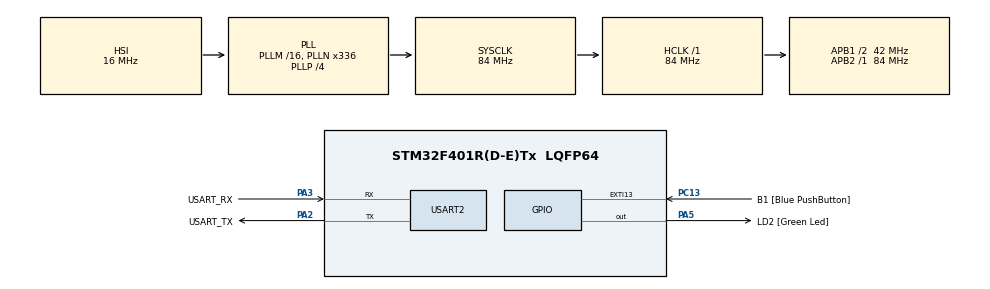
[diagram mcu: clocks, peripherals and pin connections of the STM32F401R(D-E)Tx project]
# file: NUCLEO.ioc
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Mcu.Family=STM32F4
Mcu.Name=STM32F401R(D-E)Tx
Mcu.Package=LQFP64
NVIC.EXTI15_10_IRQn=true\:2\:0\:true\:false\:true\:true
NVIC.PriorityGroup=NVIC_PRIORITYGROUP_4
PA13.GPIO_Label=TMS
PA13.Mode=Trace_Asynchronous_SW
PA13.Signal=SYS_JTMS-SWDIO
PA14.GPIO_Label=TCK
PA14.Mode=Trace_Asynchronous_SW
PA14.Signal=SYS_JTCK-SWCLK
PA2.GPIO_Label=USART_TX
PA2.GPIO_Mode=GPIO_MODE_AF_PP
PA2.GPIO_PuPd=GPIO_NOPULL
PA2.GPIO_Speed=GPIO_SPEED_FREQ_LOW
PA2.Mode=Asynchronous
PA2.Signal=USART2_TX
PA3.GPIO_Label=USART_RX
PA3.GPIO_Mode=GPIO_MODE_AF_PP
PA3.GPIO_PuPd=GPIO_NOPULL
PA3.GPIO_Speed=GPIO_SPEED_FREQ_LOW
PA3.Mode=Asynchronous
PA3.Signal=USART2_RX
PA5.GPIO_Label=LD2 [Green Led]
PA5.GPIO_Mode=GPIO_MODE_OUTPUT_PP
PA5.GPIO_PuPd=GPIO_NOPULL
PA5.GPIO_Speed=GPIO_SPEED_FREQ_LOW
PA5.Signal=GPIO_Output
PB3.GPIO_Label=SWO
PB3.Mode=Trace_Asynchronous_SW
PB3.Signal=SYS_JTDO-SWO
PC13-ANTI_TAMP.GPIO_Label=B1 [Blue PushButton]
PC13-ANTI_TAMP.GPIO_ModeDefaultEXTI=GPIO_MODE_IT_FALLING
PC13-ANTI_TAMP.GPIO_PuPd=GPIO_NOPULL
PC13-ANTI_TAMP.Signal=GPXTI13
PC14-OSC32_IN.Mode=LSE-External-Oscillator
PC14-OSC32_IN.Signal=RCC_OSC32_IN
PC15-OSC32_OUT.Mode=LSE-External-Oscillator
PC15-OSC32_OUT.Signal=RCC_OSC32_OUT
PH0\ -\ OSC_IN.Mode=HSE-External-Clock-Source
PH0\ -\ OSC_IN.Signal=RCC_OSC_IN
PH1\ -\ OSC_OUT.Mode=HSE-External-Clock-Source
PH1\ -\ OSC_OUT.Signal=RCC_OSC_OUT
ProjectManager.HeapSize=0x200
ProjectManager.StackSize=0x400
ProjectManager.TargetToolchain=TrueSTUDIO
RCC.48MHZClocksFreq_Value=48000000
RCC.AHBFreq_Value=84000000
RCC.APB1CLKDivider=RCC_HCLK_DIV2
RCC.APB1Freq_Value=42000000
RCC.APB1TimFreq_Value=84000000
RCC.APB2Freq_Value=84000000
RCC.APB2TimFreq_Value=84000000
RCC.CortexFreq_Value=84000000
RCC.HCLKFreq_Value=84000000
RCC.HSE_VALUE=8000000
RCC.HSI_VALUE=16000000
RCC.PLLN=336
RCC.PLLP=RCC_PLLP_DIV4
RCC.PLLQ=7
RCC.SYSCLKFreq_VALUE=84000000
RCC.SYSCLKSource=RCC_SYSCLKSOURCE_PLLCLK
RCC.VCOOutputFreq_Value=336000000
USART2.VirtualMode=VM_ASYNC
VP_TIM10_VS_ClockSourceINT.Mode=Enable_Timer
board=NUCLEO-F401RE

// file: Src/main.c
/**
  ******************************************************************************
  * @file           : main.c
  * @brief          : Main program body
  ******************************************************************************
  ** This notice applies to any and all portions of this file
  * that are not between comment pairs USER CODE BEGIN and
  * USER CODE END. Other portions of this file, whether
  * inserted by the user or by software development tools
  * are owned by their respective copyright owners.
  *
  * COPYRIGHT(c) 2018 STMicroelectronics
  *
  * Redistribution and use in source and binary forms, with or without modification,
  * are permitted provided that the following conditions are met:
  *   1. Redistributions of source code must retain the above copyright notice,
  *      this list of conditions and the following disclaimer.
  *   2. Redistributions in binary form must reproduce the above copyright notice,
  *      this list of conditions and the following disclaimer in the documentation
  *      and/or other materials provided with the distribution.
  *   3. Neither the name of STMicroelectronics nor the names of its contributors
  *      may be used to endorse or promote products derived from this software
  *      without specific prior written permission.
  *
  * THIS SOFTWARE IS PROVIDED BY THE COPYRIGHT HOLDERS AND CONTRIBUTORS "AS IS"
  * AND ANY EXPRESS OR IMPLIED WARRANTIES, INCLUDING, BUT NOT LIMITED TO, THE
  * IMPLIED WARRANTIES OF MERCHANTABILITY AND FITNESS FOR A PARTICULAR PURPOSE ARE
  * DISCLAIMED. IN NO EVENT SHALL THE COPYRIGHT HOLDER OR CONTRIBUTORS BE LIABLE
  * FOR ANY DIRECT, INDIRECT, INCIDENTAL, SPECIAL, EXEMPLARY, OR CONSEQUENTIAL
  * DAMAGES (INCLUDING, BUT NOT LIMITED TO, PROCUREMENT OF SUBSTITUTE GOODS OR
  * SERVICES; LOSS OF USE, DATA, OR PROFITS; OR BUSINESS INTERRUPTION) HOWEVER
  * CAUSED AND ON ANY THEORY OF LIABILITY, WHETHER IN CONTRACT, STRICT LIABILITY,
  * OR TORT (INCLUDING NEGLIGENCE OR OTHERWISE) ARISING IN ANY WAY OUT OF THE USE
  * OF THIS SOFTWARE, EVEN IF ADVISED OF THE POSSIBILITY OF SUCH DAMAGE.
  *
  ******************************************************************************
  */
#include "main.h"
#include "stm32f4xx_hal.h"
#include "tim.h"
#include "usart.h"
#include "gpio.h"

/* USER CODE BEGIN Includes */
#include <stdio.h>
/* USER CODE END Includes */

/* USER CODE BEGIN PV */
/* Private variables ---------------------------------------------------------*/
uint32_t MyGlobalVariable = 0;
uint16_t MyGlobalVariable1 = 0;
/* USER CODE END PV */

void SystemClock_Config(void);

/* USER CODE BEGIN PFP */
/* Private function prototypes -----------------------------------------------*/

/* USER CODE END PFP */

/* USER CODE BEGIN 0 */

#ifdef DEBUG_SWV_TRACE
const uint16_t buf[32] = {
                      2047, 2447, 2831, 3185, 3498, 3750, 3939, 4056, 4095, 4056,
                      3939, 3750, 3495, 3185, 2831, 2447, 2047, 1647, 1263, 909,
                      599, 344, 155, 38, 0, 38, 155, 344, 599, 909, 1263, 1647};
#endif
/* USER CODE END 0 */

int main(void)
{
  /* USER CODE BEGIN 1 */
	uint8_t i = 0;
  /* USER CODE END 1 */

  /* MCU Configuration----------------------------------------------------------*/

  /* Reset of all peripherals, Initializes the Flash interface and the Systick. */
  HAL_Init();

  /* Configure the system clock */
  SystemClock_Config();

  /* Initialize all configured peripherals */
  MX_GPIO_Init();
  MX_USART2_UART_Init();
  MX_TIM10_Init();

  /* Infinite loop */
  while (1)
  {

  /* USER CODE BEGIN 3 */
	  HAL_Delay(100);
	  HAL_GPIO_TogglePin(LD2_GPIO_Port,LD2_Pin);
#ifdef DEBUG_SWV_TRACE
	  if(i < 32){
		  MyGlobalVariable1 = buf[i];
		  i++;
	  }else{
		  i = 0;
	  }
#endif
#ifdef DEBUG_PRINTF
	  printf("hi there %i \n", MyGlobalVariable);
#endif
#ifdef DEBUG_TERMINAL
	  HAL_UART_Transmit(&huart2,"hi there using uart2\n",22 ,100);
#endif
  }
  /* USER CODE END 3 */

}

void SystemClock_Config(void)
{

  RCC_OscInitTypeDef RCC_OscInitStruct;
  RCC_ClkInitTypeDef RCC_ClkInitStruct;

    /**Configure the main internal regulator output voltage
    */
  __HAL_RCC_PWR_CLK_ENABLE();

  __HAL_PWR_VOLTAGESCALING_CONFIG(PWR_REGULATOR_VOLTAGE_SCALE2);

    /**Initializes the CPU, AHB and APB busses clocks
    */
  RCC_OscInitStruct.OscillatorType = RCC_OSCILLATORTYPE_HSI;
  RCC_OscInitStruct.HSIState = RCC_HSI_ON;
  RCC_OscInitStruct.HSICalibrationValue = 16;
  RCC_OscInitStruct.PLL.PLLState = RCC_PLL_ON;
  RCC_OscInitStruct.PLL.PLLSource = RCC_PLLSOURCE_HSI;
  RCC_OscInitStruct.PLL.PLLM = 16;
  RCC_OscInitStruct.PLL.PLLN = 336;
  RCC_OscInitStruct.PLL.PLLP = RCC_PLLP_DIV4;
  RCC_OscInitStruct.PLL.PLLQ = 7;
  if (HAL_RCC_OscConfig(&RCC_OscInitStruct) != HAL_OK)
  {
    _Error_Handler(__FILE__, __LINE__);
  }

    /**Initializes the CPU, AHB and APB busses clocks
    */
  RCC_ClkInitStruct.ClockType = RCC_CLOCKTYPE_HCLK|RCC_CLOCKTYPE_SYSCLK
                              |RCC_CLOCKTYPE_PCLK1|RCC_CLOCKTYPE_PCLK2;
  RCC_ClkInitStruct.SYSCLKSource = RCC_SYSCLKSOURCE_PLLCLK;
  RCC_ClkInitStruct.AHBCLKDivider = RCC_SYSCLK_DIV1;
  RCC_ClkInitStruct.APB1CLKDivider = RCC_HCLK_DIV2;
  RCC_ClkInitStruct.APB2CLKDivider = RCC_HCLK_DIV1;

  if (HAL_RCC_ClockConfig(&RCC_ClkInitStruct, FLASH_LATENCY_2) != HAL_OK)
  {
    _Error_Handler(__FILE__, __LINE__);
  }

    /**Configure the Systick interrupt time
    */
  HAL_SYSTICK_Config(HAL_RCC_GetHCLKFreq()/1000);

    /**Configure the Systick
    */
  HAL_SYSTICK_CLKSourceConfig(SYSTICK_CLKSOURCE_HCLK);

  /* SysTick_IRQn interrupt configuration */
  HAL_NVIC_SetPriority(SysTick_IRQn, 0, 0);
}

/* USER CODE BEGIN 4 */
#ifdef DEBUG_PRINTF
int  _write(int  file,  char  *ptr,  int  len)
{
	int  DataIdx;

	for(DataIdx=0;  DataIdx<len;  DataIdx++)
	{
		ITM_SendChar(*ptr++);
	}
	return  len;
}
#endif
/* USER CODE END 4 */

void _Error_Handler(char *file, int line)
{
  while(1)
  {
  }
}

/************************ (C) COPYRIGHT STMicroelectronics *****END OF FILE****/
